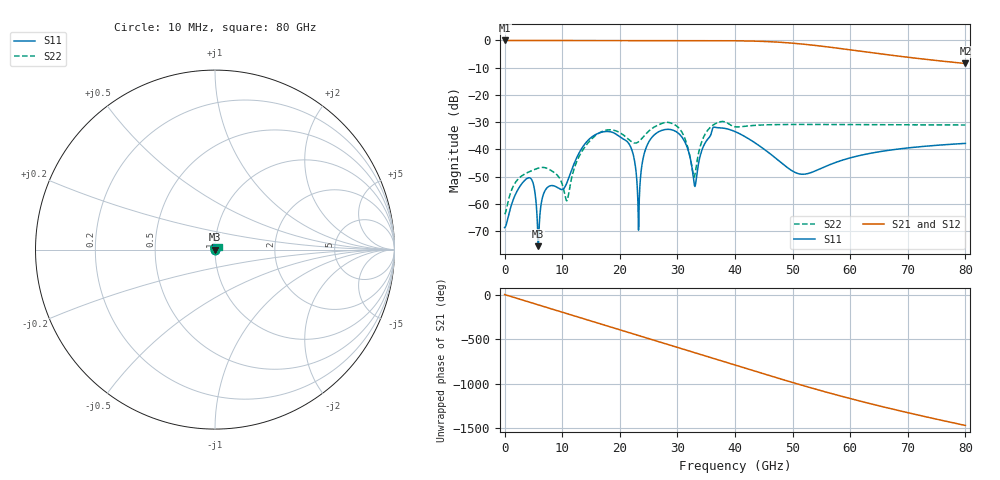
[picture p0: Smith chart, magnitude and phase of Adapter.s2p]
# Hz S DB R 50
!Touchstone multiport model file <C:\work\PySI\TestSignalIntegrity\OysterSimulation\ResampledSimbeor\Adapter.s2p>
!Created on 22 Aug 18, at 17:55:24.
!Created with Simbeor THz 2018.01(64bit) of Simberian Inc. built on Jul 20 2018
!Output from MultiportParameters of Simbeor.
!Multiport parameters: DataOrigin=Simulation DataOriginName="Project(1).Adapter_resampled.LNS"
!RESAMPLED_RCM: Max_RMS_Error=0.00317277; FrqLow=0; FrqHigh=4e+10; MaxTimeResolution=1.25e-11; PassivityState=1; ReciprocityState=1; DataSource="P®°n"
!RATIONAL COMPACTOR: Precision: Normal; Extract Delay: ON; Extrapolate to DC: ON; Extrapolate to Infinity: OFF; Enforce Passivity: ON; Enforce Reciprocity: ON; Band Limit Factor: 1; Auto-Adjust Config: OFF
!Uncomment the following lines with keywords in square brakets to support IBIS forum specification 2.0.
![Version] 2.0 !This line should be the first in file, preceeding the line starting with #.
![Number of Ports] 2
![Number of Frequencies] 8001
![Two-Port Data Order] 21_12
![Reference] 50 50
!!!!Multiport descriptor profile: InputCount=2 TotalPortCount=2
!DescriptorOutline={DescriptorType=SMatrix InputSpace=Terminal NormalizationType=CommonZo NormalizationCommonZo=50 Ohm OutputFormat=DBMagnitudeAngle}
!InputProfile={Name="IO1" IsTLineInput=False InputNumber=1 PortCount=1 FirstPortNumber=1 InputSpace=Terminal BlockType=SBlock NormalizationType=CommonZo Zo=50}
!InputProfile={Name="IO2" IsTLineInput=False InputNumber=2 PortCount=1 FirstPortNumber=2 InputSpace=Terminal BlockType=SBlock NormalizationType=CommonZo Zo=50}
!!!Global port number to input_name/local_port_number correspondence:
!Port 1 -> "IO1"/local_port_1 (terminal)
!Port 2 -> "IO2"/local_port_1 (terminal)
!!!!End of descriptor profile.
!Frequency Hz 20.0*log(|S[1,1]|) arg(S[1,1]) 20.0*log(|S[2,1]|) arg(S[2,1]) 20.0*log(|S[1,2]|) arg(S[1,2]) 20.0*log(|S[2,2]|) arg(S[2,2])
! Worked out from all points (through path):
!   8000 points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, 10 MHz to 80 GHz, reference 50 ohm
!   highest |S21| = 0.00 dB at 10 MHz (marker M1); lowest = -8.5 dB at 80 GHz (marker M2)
!   group delay of S21, straight-line fit = 52.2 ps
!   lowest |S11| = -75.5 dB at 5.86 GHz (marker M3), VSWR 1.00, Z = 50 - j0.0104 ohm
!   |S11| at or under -10 dB: start of sweep to end of sweep
!   |S22| runs from -63.8 to -29.8 dB; largest |S21 - S12| = 3.7e-14
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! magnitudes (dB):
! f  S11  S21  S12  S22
! 10 MHz  -68.7  0.0  0.0  -63.8
! 1.74 GHz  -57.2  0.0  0.0  -52.6
! 4.15 GHz  -50.4  0.0  0.0  -48.3
! 5.02 GHz  -52.9  0.0  0.0  -47.5
! 5.86 GHz  -75.5  0.0  0.0  -46.9
! 7.23 GHz  -54.5  0.0  0.0  -46.8
! 10.8 GHz  -52.4  0.0  0.0  -58.9
! 13.35 GHz  -39.8  0.0  0.0  -41.0
! 17.22 GHz  -33.5  -0.1  -0.1  -33.2
! 21.06 GHz  -36.7  -0.1  -0.1  -35.4
! 22.32 GHz  -41.8  -0.1  -0.1  -37.5
! 23.27 GHz  -69.3  -0.1  -0.1  -37.2
! 24.45 GHz  -40.1  -0.1  -0.1  -34.5
! 26.68 GHz  -33.6  -0.1  -0.1  -31.0
! 30.73 GHz  -35.3  -0.1  -0.1  -33.5
! 33.04 GHz  -53.6  -0.1  -0.1  -49.4
! 34.4 GHz  -39.5  -0.1  -0.1  -36.2
! 36.3 GHz  -31.8  -0.1  -0.1  -30.9
! 40.01 GHz  -33.5  -0.1  -0.1  -31.7
! 53.34 GHz  -48.4  -1.7  -1.7  -30.8
! 66.67 GHz  -40.3  -5.3  -5.3  -31.0
! 80 GHz  -37.8  -8.5  -8.5  -31.0
